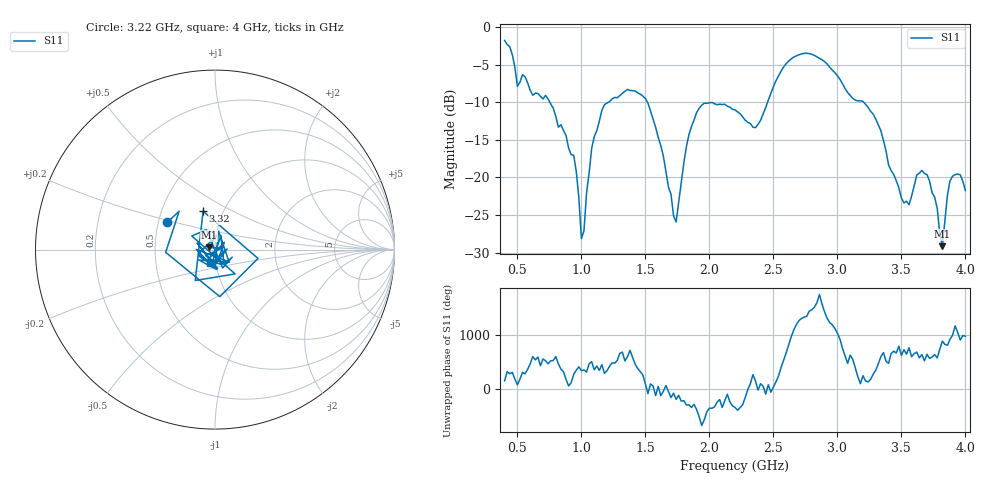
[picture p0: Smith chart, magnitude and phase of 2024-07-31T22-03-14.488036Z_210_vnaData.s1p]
!Created with skrf (http://scikit-rf.org).
# Hz S RI R 50.0
!freq ReS11 ImS11
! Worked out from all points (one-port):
!   181 points, 400 MHz to 4 GHz, reference 50 ohm
!   lowest |S11| = -29.1 dB at 3.82 GHz (marker M1), VSWR 1.07, Z = 46.8 + j1.1 ohm
!   |S11| at or under -10 dB: 753.6 MHz to 1.211 GHz (457.5 MHz wide, 46.6 % of centre); 1.516 GHz to 2.454 GHz (937.8 MHz wide, 47.2 % of centre); 3.206 GHz to end of sweep
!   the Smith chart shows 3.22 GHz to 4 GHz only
!   S11 on the Smith chart (normalised r, x): 3.22 GHz: 0.56, +0.19; 3.32 GHz: 0.80, +0.36; 4 GHz: 0.93, -0.14
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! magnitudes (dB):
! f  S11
! 400 MHz  -1.8
! 500 MHz  -7.9
! 720 MHz  -9.1
! 860 MHz  -13.8
! 940 MHz  -17.1
! 1 GHz  -28.1
! 1.1 GHz  -14.6
! 1.18 GHz  -10.3
! 1.3 GHz  -9.1
! 1.52 GHz  -10.1
! 1.64 GHz  -17.2
! 1.72 GHz  -25.1
! 1.76 GHz  -23.3
! 1.84 GHz  -14.3
! 1.92 GHz  -10.8
! 2.2 GHz  -11.0
! 2.36 GHz  -13.4
! 2.66 GHz  -4.0
! 2.88 GHz  -4.3
! 3.1 GHz  -9.1
! 3.22 GHz  -10.3
! 3.32 GHz  -13.0
! 3.56 GHz  -23.6
! 3.62 GHz  -19.7
! 3.7 GHz  -19.6
! 3.82 GHz  -29.1
! 3.88 GHz  -20.5
! 4 GHz  -21.7
